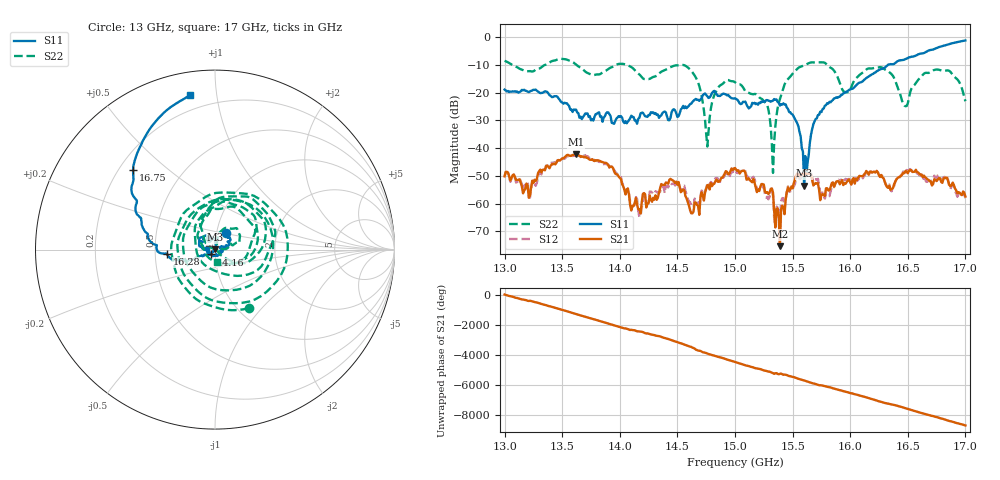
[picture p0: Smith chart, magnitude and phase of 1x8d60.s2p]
!Keysight Technologies,P9374A,MY57211807,A.19.30.04
!Date: Friday, May 08, 2026 15:22:22
!Correction: S11(C  2-Port  )
!S21(C  2-Port  )
!S12(C  2-Port  )
!S22(C  2-Port  )
!S2P File: Measurements: S11, S21, S12, S22:
# Hz S  dB  R 50
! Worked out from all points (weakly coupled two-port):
!   401 points, 13 GHz to 17 GHz, reference 50 ohm
!   highest |S21| = -42.18 dB at 13.62 GHz (marker M1); lowest = -75.4 dB at 15.39 GHz (marker M2)
!   lowest |S11| = -53.5 dB at 15.6 GHz (marker M3), VSWR 1.00, Z = 50 + j0.208 ohm
!   |S11| at or under -10 dB: start of sweep to 16.33 GHz
!   |S22| runs from -48.9 to -7.8 dB; largest |S21 - S12| = 0.00065
!   S11 on the Smith chart (normalised r, x): 13 GHz: 1.11, +0.21; 14.16 GHz: 0.96, -0.05; 16.28 GHz: 0.58, -0.03; 16.75 GHz: 0.26, +0.38; 17 GHz: 0.12, +0.85
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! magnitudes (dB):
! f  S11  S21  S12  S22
! 13 GHz  -18.9  -50.2  -50.1  -8.5
! 13.21 GHz  -19.8  -57.9  -55.7  -12.2
! 13.62 GHz  -26.1  -42.2  -42.7  -9.9
! 13.67 GHz  -29.5  -43.0  -42.8  -11.3
! 14.16 GHz  -29.5  -62.0  -62.6  -13.1
! 14.34 GHz  -29.1  -56.2  -55.9  -13.2
! 14.62 GHz  -24.0  -63.5  -60.6  -12.1
! 14.76 GHz  -21.3  -53.3  -52.8  -39.4
! 14.84 GHz  -20.6  -51.3  -50.8  -19.2
! 15 GHz  -22.1  -47.2  -47.7  -16.2
! 15.26 GHz  -23.3  -55.6  -56.6  -23.5
! 15.33 GHz  -22.9  -56.0  -57.1  -48.9
! 15.39 GHz  -24.7  -75.4  -67.4  -22.3
! 15.53 GHz  -30.2  -50.0  -51.2  -11.8
! 15.6 GHz  -53.5  -50.0  -50.6  -10.2
! 15.67 GHz  -33.1  -51.6  -50.7  -9.1
! 15.96 GHz  -19.8  -52.8  -51.1  -19.9
! 16.28 GHz  -11.4  -50.5  -50.1  -11.0
! 16.34 GHz  -9.8  -53.6  -53.1  -12.6
! 16.48 GHz  -7.9  -48.3  -48.2  -24.9
! 16.75 GHz  -3.9  -51.9  -50.7  -11.7
! 17 GHz  -1.2  -57.4  -58.0  -23.1
